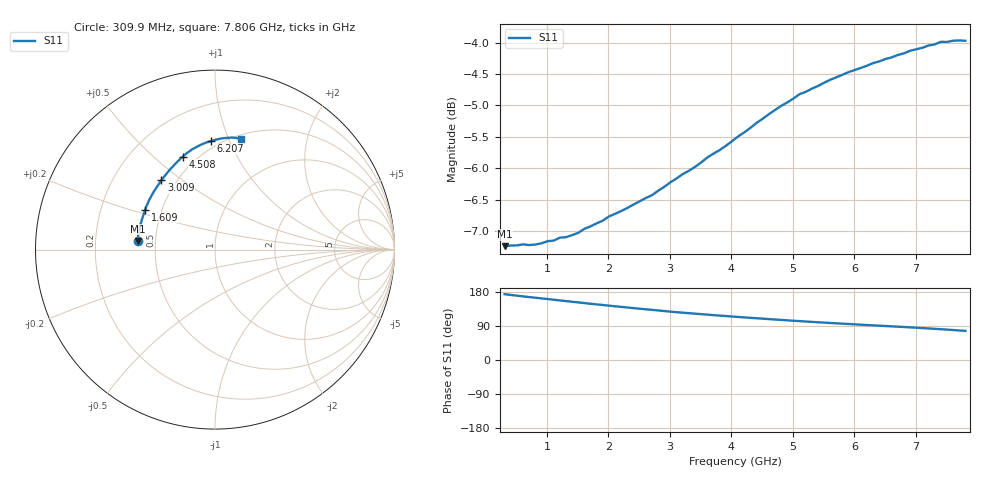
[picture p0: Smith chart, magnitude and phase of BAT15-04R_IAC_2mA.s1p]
! Infineon Technologies  Discrete & RF Semiconductors
! BAT15-04R
! IAC = 2 mA
! One-Port S-Parameters
# Hz  S  MA  R  50
!f  S11
!Hz  Mag  Ang
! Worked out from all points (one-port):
!   76 points, 309.9 MHz to 7.806 GHz, reference 50 ohm
!   lowest |S11| = -7.2 dB at 309.9 MHz (marker M1), VSWR 2.54, Z = 19.8 + j2.37 ohm
!   |S11| at or under -10 dB: nowhere
!   S11 on the Smith chart (normalised r, x): 309.9 MHz: 0.40, +0.05; 1.609 GHz: 0.40, +0.23; 3.009 GHz: 0.41, +0.42; 4.508 GHz: 0.42, +0.63; 6.207 GHz: 0.45, +0.86; 7.806 GHz: 0.54, +1.11
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3.0985e8  0.4344 173.6
6.097e8  0.4358 167.9
8.096e8  0.4357 164.4
1.0095e9  0.4384 160.8
1.2094e9  0.4412 157.3
1.30935e9  0.4416 155.5
1.6092e9  0.4485 150.2
2.009e9  0.4588 143.4
2.2089e9  0.4633 140.1
2.50875e9  0.4717 135.3
2.70865e9  0.477 132.3
3.0085e9  0.4884 127.7
3.2084e9  0.4958 124.9
3.70815e9  0.5147 118.4
4.10795e9  0.5312 113.6
4.50775e9  0.5487 109.1
4.70765e9  0.5575 106.8
5.0075e9  0.5694 103.6
5.10745e9  0.574 102.6
5.6072e9  0.5894 97.7
6.007e9  0.6 94.1
6.2069e9  0.6048 92.3
6.50675e9  0.6122 89.7
6.90655e9  0.6216 86.2
7.2064e9  0.6276 83.3
7.4063e9  0.6318 81.3
7.6062e9  0.6331 79.1
7.8061e9  0.633 76.8
